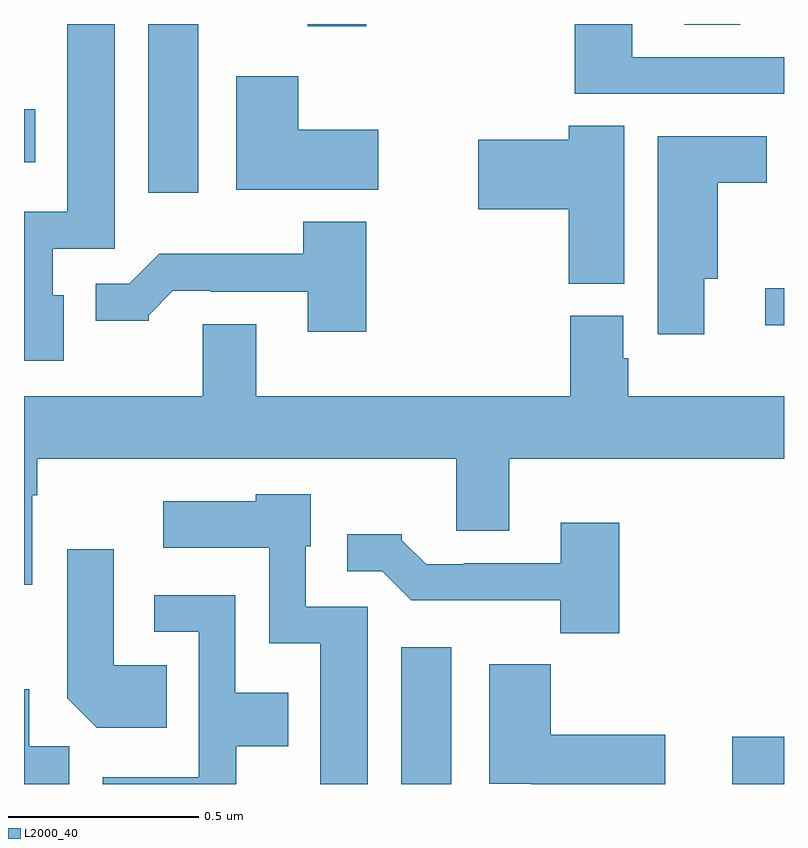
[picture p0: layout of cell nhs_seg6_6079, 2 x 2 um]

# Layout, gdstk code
import gdstk
lib = gdstk.Library(unit=1e-6, precision=1e-09)
def R(c, l, rs):  # rectangles x0, y0, x1, y1
    for r in rs: c.add(gdstk.rectangle(r[:2], r[2:], *l))
def P(c, l, *ps):  # polygons
    for p in ps: c.add(gdstk.Polygon(p, *l))
L2000_40 = (2000, 40)

nhs_seg6_6079 = lib.new_cell('nhs_seg6_6079')
R(nhs_seg6_6079, L2000_40, [(191.993,926.5,192.124,926.86), (192.864,926.5,193,926.624), (192.951,927.707,193,927.804), (191.327,928.056,191.458,928.5), (191,928.136,191.029,928.276), (191.747,928.494,191.9,928.5), (192.737,928.498,192.885,928.5)])
P(nhs_seg6_6079, L2000_40, [(193,928.413),(192.601,928.413),(192.601,928.5),(192.449,928.5),(192.449,928.317),(193,928.317)],
  [(191.104,927.786),(191.076,927.786),(191.076,927.909),(191.239,927.909),(191.239,928.5),(191.114,928.5),(191.114,928.006),(191,928.006),(191,927.614),(191.104,927.614)],
  [(191.932,928.222),(191.722,928.222),(191.722,928.363),(191.558,928.363),(191.558,928.064),(191.932,928.064)],
  [(192.58,928.232),(192.434,928.232),(192.434,928.196),(192.195,928.196),(192.195,928.013),(192.434,928.013),(192.434,927.817),(192.58,927.817)],
  [(192.79,927.83),(192.826,927.83),(192.826,928.082),(192.955,928.082),(192.955,928.204),(192.668,928.204),(192.668,927.684),(192.79,927.684)],
  [(191.9,927.979),(191.735,927.979),(191.735,927.895),(191.356,927.895),(191.277,927.816),(191.189,927.816),(191.189,927.719),(191.328,927.719),(191.328,927.734),(191.392,927.798),(191.491,927.798),(191.491,927.795),(191.747,927.795),(191.747,927.69),(191.9,927.69)],
  [(191.022,927.26),(191.035,927.26),(191.035,927.356),(192.137,927.356),(192.137,927.166),(192.277,927.166),(192.277,927.356),(193,927.356),(193,927.52),(192.59,927.52),(192.59,927.621),(192.577,927.621),(192.577,927.732),(192.437,927.732),(192.437,927.52),(191.611,927.52),(191.611,927.71),(191.471,927.71),(191.471,927.52),(191,927.52),(191,927.024),(191.022,927.024)],
  [(191.905,926.967),(191.742,926.967),(191.742,927.126),(191.755,927.126),(191.755,927.262),(191.61,927.262),(191.61,927.244),(191.367,927.244),(191.367,927.122),(191.646,927.122),(191.646,926.87),(191.78,926.87),(191.78,926.5),(191.905,926.5)],
  [(192.566,927.187),(192.413,927.187),(192.413,927.081),(192.157,927.081),(192.157,927.078),(192.058,927.078),(191.994,927.142),(191.994,927.157),(191.85,927.157),(191.85,927.06),(191.943,927.06),(192.019,926.984),(192.411,926.984),(192.411,926.897),(192.566,926.897)],
  [(191.375,926.812),(191.236,926.812),(191.236,927.118),(191.114,927.118),(191.114,926.726),(191.192,926.648),(191.375,926.648)],
  [(191.559,926.6),(191.695,926.6),(191.695,926.74),(191.556,926.74),(191.556,926.997),(191.343,926.997),(191.343,926.901),(191.46,926.901),(191.46,926.518),(191.207,926.518),(191.207,926.5),(191.559,926.5)],
  [(192.688,926.629),(192.386,926.629),(192.386,926.815),(192.224,926.815),(192.224,926.501),(192.335,926.501),(192.335,926.5),(192.688,926.5)],
  [(191.119,926.6),(191.014,926.6),(191.014,926.749),(191,926.749),(191,926.5),(191.119,926.5)])

lib.write_gds('nhs_seg6_6079.gds')
